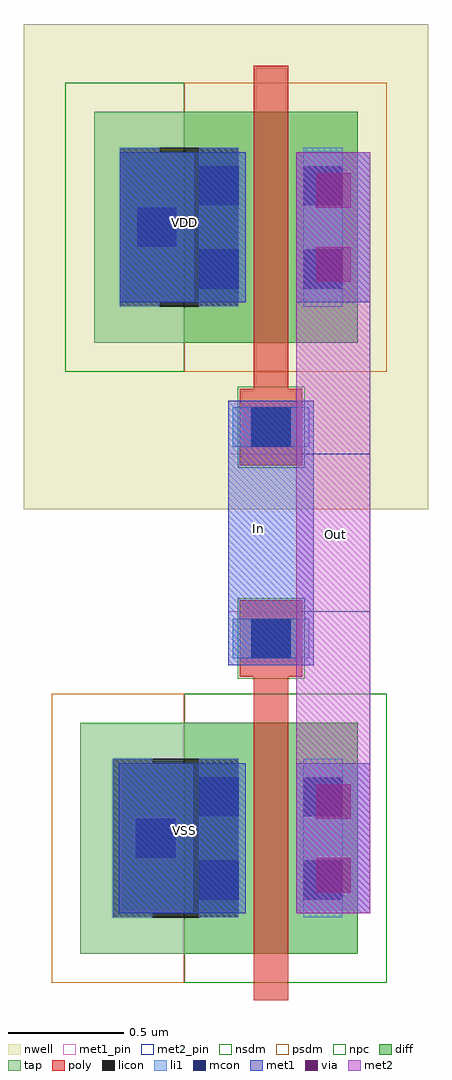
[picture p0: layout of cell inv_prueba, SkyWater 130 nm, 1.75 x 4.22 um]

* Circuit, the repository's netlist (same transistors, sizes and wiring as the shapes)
** sch_path: /foss/designs/xschem_pruebas/inv_prueba.sch
.subckt inv_prueba VDD Out In VSS
*.PININFO Out:B In:B VDD:B VSS:B
XM3 Out In VDD VDD sky130_fd_pr__pfet_01v8 L=0.15 W=1 nf=1 ad='int((nf+1)/2) * W/nf * 0.29' as='int((nf+2)/2) * W/nf * 0.29' pd='2*int((nf+1)/2) * (W/nf + 0.29)'
+ ps='2*int((nf+2)/2) * (W/nf + 0.29)' nrd='0.29 / W' nrs='0.29 / W' sa=0 sb=0 sd=0 mult=1 m=1
XM4 Out In VSS VSS sky130_fd_pr__nfet_01v8 L=0.15 W=1 nf=1 ad='int((nf+1)/2) * W/nf * 0.29' as='int((nf+2)/2) * W/nf * 0.29' pd='2*int((nf+1)/2) * (W/nf + 0.29)'
+ ps='2*int((nf+2)/2) * (W/nf + 0.29)' nrd='0.29 / W' nrs='0.29 / W' sa=0 sb=0 sd=0 mult=1 m=1
.ends
.end

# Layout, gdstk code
from math import pi, radians
import gdstk
lib = gdstk.Library(unit=1e-6, precision=1e-09)
def R(c, l, rs):  # rectangles x0, y0, x1, y1
    for r in rs: c.add(gdstk.rectangle(r[:2], r[2:], *l))
nwell = (64, 20)
diff = (65, 20)
tap = (65, 44)
poly = (66, 20)
licon = (66, 44)
li1 = (67, 20)
mcon = (67, 44)
met1_pin = (68, 16)
met1 = (68, 20)
via = (68, 44)
met2_pin = (69, 16)
met2 = (69, 20)
nsdm = (93, 44)
psdm = (94, 20)
npc = (95, 20)

nfet = lib.new_cell('nfet')
R(nfet, diff, [(0,0,0.75,1)])
R(nfet, tap, [(0.75,0,1.2,1)])
R(nfet, poly, [(0.3,-0.2,0.45,1.2), (0.24,1.2,0.51,1.53)])
R(nfet, licon, [(0.065,0.235,0.235,0.405), (0.515,0.235,0.685,0.405), (0.89,0.235,1.06,0.405), (0.065,0.595,0.235,0.765), (0.515,0.595,0.685,0.765), (0.89,0.595,1.06,0.765), (0.29,1.28,0.46,1.45)])
R(nfet, li1, [(0.065,0.155,0.235,0.845), (0.515,0.155,0.685,0.845), (0.89,0.155,1.06,0.845), (0.21,1.28,0.54,1.45)])
R(nfet, mcon, [(0.065,0.235,0.235,0.405), (0.515,0.235,0.685,0.405), (0.065,0.595,0.235,0.765), (0.515,0.595,0.685,0.765), (0.29,1.28,0.46,1.45)])
R(nfet, met1, [(0.035,0.175,0.265,0.825), (0.485,0.175,0.715,0.825), (0.19,1.25,0.56,1.48)])
R(nfet, nsdm, [(-0.125,-0.125,0.75,1.125)])
R(nfet, psdm, [(0.75,-0.125,1.325,1.125)])
R(nfet, npc, [(0.23,1.19,0.52,1.54)])

pfet = lib.new_cell('pfet')
R(pfet, nwell, [(-0.305,-0.72,1.445,1.38)])
R(pfet, diff, [(0,0,0.75,1)])
R(pfet, tap, [(0.75,0,1.14,1)])
R(pfet, poly, [(0.24,-0.53,0.51,-0.2), (0.3,-0.2,0.45,1.2)])
R(pfet, licon, [(0.29,-0.45,0.46,-0.28), (0.065,0.235,0.235,0.405), (0.515,0.235,0.685,0.405), (0.86,0.235,1.03,0.405), (0.065,0.595,0.235,0.765), (0.515,0.595,0.685,0.765), (0.86,0.595,1.03,0.765)])
R(pfet, li1, [(0.21,-0.45,0.54,-0.28), (0.065,0.155,0.235,0.845), (0.515,0.155,0.685,0.845), (0.86,0.155,1.03,0.845)])
R(pfet, mcon, [(0.29,-0.45,0.46,-0.28), (0.065,0.235,0.235,0.405), (0.515,0.235,0.685,0.405), (0.065,0.595,0.235,0.765), (0.515,0.595,0.685,0.765)])
R(pfet, met1, [(0.19,-0.48,0.56,-0.25), (0.035,0.175,0.265,0.825), (0.485,0.175,0.715,0.825)])
R(pfet, nsdm, [(0.75,-0.125,1.265,1.125)])
R(pfet, psdm, [(-0.125,-0.125,0.75,1.125)])
R(pfet, npc, [(0.23,-0.54,0.52,-0.19)])

vias_gen_1 = lib.new_cell('vias_gen$1')
R(vias_gen_1, met1, [(0,0,0.32,0.65)])
R(vias_gen_1, via, [(0.085,0.09,0.235,0.24), (0.085,0.41,0.235,0.56)])
R(vias_gen_1, met2, [(0,0,0.32,0.65)])

vias_gen_2 = lib.new_cell('vias_gen$2')
R(vias_gen_2, li1, [(0,0,0.32,0.65)])
R(vias_gen_2, mcon, [(0.075,0.24,0.245,0.41)])
R(vias_gen_2, met1, [(0,0,0.32,0.65)])

inv_prueba = lib.new_cell('inv_prueba')
R(inv_prueba, licon, [(1.25,-0.735,1.795,-0.045), (1.28,1.91,1.795,2.6)])
R(inv_prueba, met1_pin, [(1.275,-0.715,1.825,-0.065), (1.75,0.59,2.12,1.275), (1.28,1.93,1.825,1.935), (1.28,1.935,1.825,2.58)])
R(inv_prueba, met1, [(1.75,0.36,2.12,1.505)])
R(inv_prueba, met2_pin, [(2.045,0.59,2.365,1.275)])
R(inv_prueba, met2, [(2.045,-0.715,2.365,2.58)])
inv_prueba.add(gdstk.Reference(nfet, (2.31,-0.89), rotation=pi, x_reflection=True))
inv_prueba.add(gdstk.Reference(pfet, (2.31,1.755), rotation=pi, x_reflection=True))
inv_prueba.add(gdstk.Reference(vias_gen_1, (2.045,-0.715)))
inv_prueba.add(gdstk.Reference(vias_gen_1, (2.045,1.93)))
inv_prueba.add(gdstk.Reference(vias_gen_2, (1.275,-0.715)))
inv_prueba.add(gdstk.Reference(vias_gen_2, (1.28,1.93)))
inv_prueba.add(gdstk.Label('VDD', (1.56,2.275), layer=68, texttype=5))
inv_prueba.add(gdstk.Label('In', (1.88,0.95), layer=68, texttype=5))
inv_prueba.add(gdstk.Label('VSS', (1.56,-0.355), layer=68, texttype=5))
inv_prueba.add(gdstk.Label('Out', (2.215,0.925), layer=69, texttype=5))

lib.write_gds('inv_prueba.gds')
